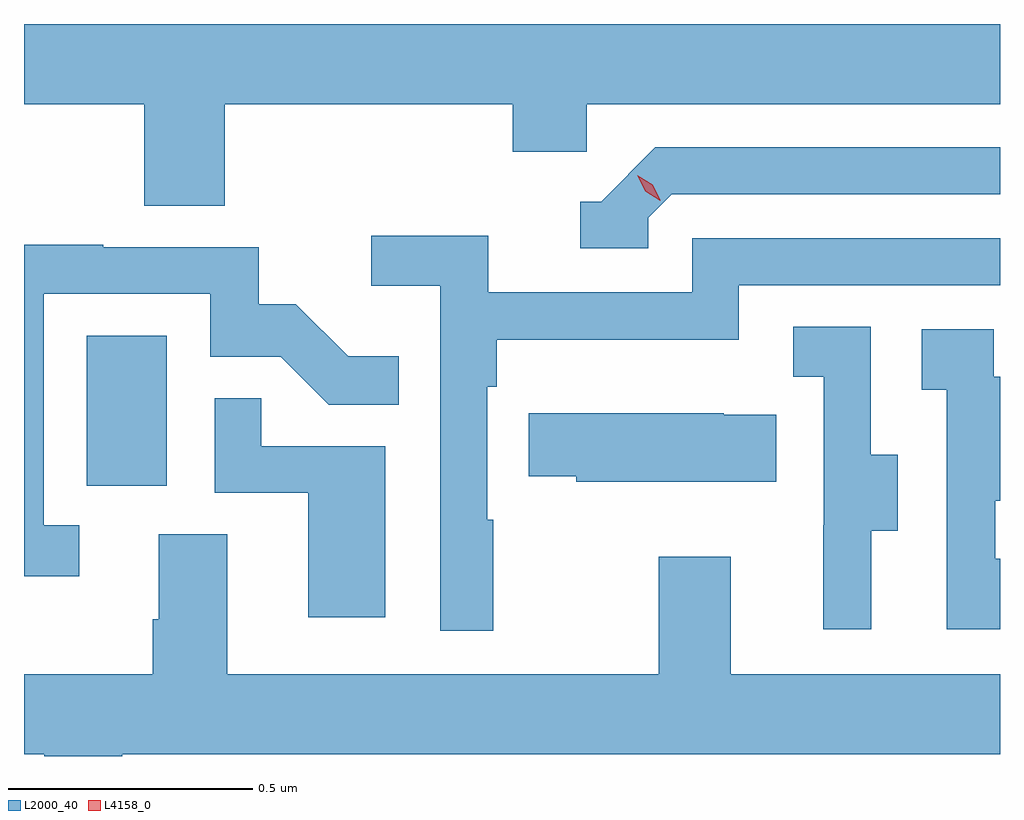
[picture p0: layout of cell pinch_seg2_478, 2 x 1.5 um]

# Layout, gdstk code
import gdstk
lib = gdstk.Library(unit=1e-6, precision=1e-09)
def R(c, l, rs):  # rectangles x0, y0, x1, y1
    for r in rs: c.add(gdstk.rectangle(r[:2], r[2:], *l))
def P(c, l, *ps):  # polygons
    for p in ps: c.add(gdstk.Polygon(p, *l))
L2000_40 = (2000, 40)
L4158_0 = (4158, 0)

pinch_seg2_478 = lib.new_cell('pinch_seg2_478')
R(pinch_seg2_478, L2000_40, [(903.692,590.91,903.856,591.217)])
P(pinch_seg2_478, L2000_40, [(903.974,591.692),(904.565,591.692),(904.565,591.594),(904.716,591.594),(904.716,591.692),(905.563,591.692),(905.563,591.856),(903.563,591.856),(903.563,591.692),(903.809,591.692),(903.809,591.484),(903.974,591.484)],
  [(904.842,591.459),(904.89,591.507),(905.563,591.507),(905.563,591.603),(904.857,591.603),(904.746,591.492),(904.703,591.492),(904.703,591.396),(904.842,591.396)],
  [(904.525,590.84),(904.512,590.84),(904.512,591.113),(904.532,591.113),(904.532,591.209),(905.028,591.209),(905.028,591.321),(905.563,591.321),(905.563,591.417),(904.932,591.417),(904.932,591.306),(904.514,591.306),(904.514,591.422),(904.275,591.422),(904.275,591.32),(904.416,591.32),(904.416,590.613),(904.525,590.613)],
  [(903.676,590.829),(903.603,590.829),(903.603,591.303),(903.945,591.303),(903.945,591.174),(904.089,591.174),(904.187,591.076),(904.331,591.076),(904.331,591.175),(904.227,591.175),(904.12,591.282),(904.044,591.282),(904.044,591.399),(903.725,591.399),(903.725,591.404),(903.563,591.404),(903.563,590.724),(903.676,590.724)],
  [(905.299,590.818),(905.353,590.818),(905.353,590.973),(905.298,590.973),(905.298,591.236),(905.139,591.236),(905.139,591.133),(905.202,591.133),(905.202,590.829),(905.201,590.829),(905.201,590.616),(905.299,590.616)],
  [(905.563,590.76),(905.553,590.76),(905.553,590.879),(905.563,590.879),(905.563,591.133),(905.55,591.133),(905.55,591.231),(905.403,591.231),(905.403,591.107),(905.454,591.107),(905.454,590.616),(905.563,590.616)],
  [(904.303,590.991),(904.049,590.991),(904.049,591.089),(903.954,591.089),(903.954,590.895),(904.145,590.895),(904.145,590.64),(904.303,590.64)],
  [(905.105,591.055),(904.997,591.055),(904.997,591.058),(904.597,591.058),(904.597,590.929),(904.695,590.929),(904.695,590.918),(905.105,590.918)],
  [(903.764,590.36),(905.563,590.36),(905.563,590.524),(905.011,590.524),(905.011,590.764),(904.864,590.764),(904.864,590.524),(903.979,590.524),(903.979,590.81),(903.839,590.81),(903.839,590.636),(903.827,590.636),(903.827,590.524),(903.563,590.524),(903.563,590.36),(903.604,590.36),(903.604,590.356),(903.764,590.356)])
P(pinch_seg2_478, L4158_0, [(904.867,591.494),(904.836,591.513),(904.82,591.546),(904.82,591.546),(904.82,591.546),(904.851,591.527),(904.867,591.495),(904.867,591.494)])

lib.write_gds('pinch_seg2_478.gds')
